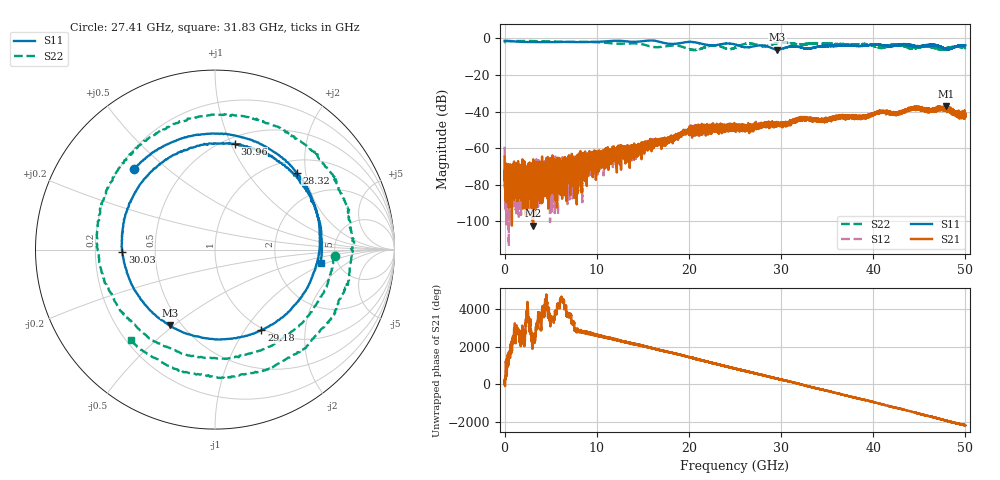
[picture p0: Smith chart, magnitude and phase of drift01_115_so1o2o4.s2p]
!Created with skrf (http://scikit-rf.org).
# Hz S RI R 50.0
!freq ReS11 ImS11 ReS21 ImS21 ReS12 ImS12 ReS22 ImS22
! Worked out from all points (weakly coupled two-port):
!   10001 points, 300 kHz to 50 GHz, reference 50 ohm
!   highest |S21| = -36.98 dB at 47.92 GHz (marker M1); lowest = -102.4 dB at 3.085 GHz (marker M2)
!   lowest |S11| = -6.2 dB at 29.61 GHz (marker M3), VSWR 2.92, Z = 21.8 - j24.1 ohm
!   |S11| at or under -10 dB: nowhere
!   |S22| runs from -6.4 to -1.4 dB; largest |S21 - S12| = 0.0035
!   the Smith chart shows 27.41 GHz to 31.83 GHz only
!   S11 on the Smith chart (normalised r, x): 27.41 GHz: 0.26, +0.39; 28.32 GHz: 1.27, +1.78; 29.18 GHz: 0.97, -1.19; 30.03 GHz: 0.32, -0.01; 30.96 GHz: 0.56, +1.03; 31.83 GHz: 3.71, -0.86
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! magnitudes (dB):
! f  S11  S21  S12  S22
! 300 kHz  -1.3  -64.5  -59.2  -2.0
! 260.3 MHz  -1.4  -80.2  -74.0  -1.4
! 3.085 GHz  -2.0  -102.4  -71.1  -1.4
! 6.125 GHz  -1.9  -85.7  -69.7  -1.8
! 6.765 GHz  -1.9  -80.9  -78.7  -1.9
! 8.335 GHz  -2.0  -75.3  -63.9  -1.8
! 16.67 GHz  -1.6  -56.0  -56.3  -4.8
! 20.34 GHz  -1.9  -50.9  -50.8  -6.2
! 22.62 GHz  -3.8  -46.4  -50.2  -3.8
! 25 GHz  -3.3  -48.2  -48.6  -5.0
! 27.41 GHz  -3.9  -48.0  -48.2  -3.5
! 28.32 GHz  -4.1  -47.7  -46.6  -4.3
! 29.18 GHz  -5.7  -48.4  -46.8  -3.1
! 29.61 GHz  -6.2  -47.2  -45.9  -2.5
! 30.03 GHz  -5.7  -47.5  -47.2  -2.3
! 30.96 GHz  -4.4  -44.8  -45.7  -2.4
! 31.83 GHz  -4.5  -43.7  -43.7  -3.3
! 33.34 GHz  -5.3  -44.8  -44.2  -2.7
! 41.67 GHz  -4.2  -40.4  -40.4  -4.3
! 46.48 GHz  -3.7  -39.6  -39.1  -4.6
! 47.92 GHz  -5.9  -37.0  -38.8  -5.3
! 50 GHz  -3.8  -41.6  -42.6  -5.3
